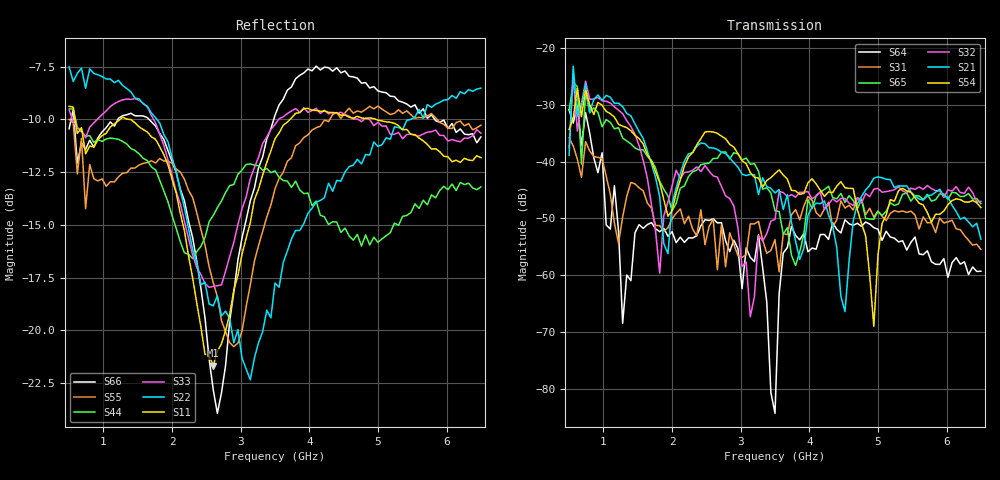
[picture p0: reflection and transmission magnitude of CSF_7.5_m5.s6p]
!Keysight Technologies,M9804A,MY58100912,A.14.10.03
!Date: Thursday, April 27, 2023 10:28:33
!Correction: S11(C  6-Port  )
!S12(C  6-Port  )
!S13(C  6-Port  )
!S14(C  6-Port  )
!S15(C  6-Port  )
!S16(C  6-Port  )
!S21(C  6-Port  )
!S22(C  6-Port  )
!S23(C  6-Port  )
!S24(C  6-Port  )
!S25(C  6-Port  )
!S26(C  6-Port  )
!S31(C  6-Port  )
!S32(C  6-Port  )
!S33(C  6-Port  )
!S34(C  6-Port  )
!S35(C  6-Port  )
!S36(C  6-Port  )
!S41(C  6-Port  )
!S42(C  6-Port  )
!S43(C  6-Port  )
!S44(C  6-Port  )
!S45(C  6-Port  )
!S46(C  6-Port  )
!S51(C  6-Port  )
!S52(C  6-Port  )
!S53(C  6-Port  )
!S54(C  6-Port  )
!S55(C  6-Port  )
!S56(C  6-Port  )
!S61(C  6-Port  )
!S62(C  6-Port  )
!S63(C  6-Port  )
!S64(C  6-Port  )
!S65(C  6-Port  )
!S66(C  6-Port  )
!S6P File: Measurement: :
# Hz S  RI  R 50
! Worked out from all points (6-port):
!   101 points, 500 MHz to 6.5 GHz, reference 50 ohm
!   strongest paths, dB at 500 MHz, 2 GHz, 3.5 GHz, 5 GHz, 6.5 GHz:
!     S54: -34.3, -48.7, -42.1, -56.5, -48.1
!     S21: -38.9, -47.4, -45.5, -42.7, -53.7
!     S32: -37.5, -44.3, -50.2, -44.7, -47.0
!     S65: -31.0, -48.6, -48.7, -48.7, -47.4
!     S31: -35.8, -50.0, -53.7, -48.7, -55.5
!     S64: -30.9, -52.3, -84.3, -51.9, -59.3
!   lowest |S11| = -21.7 dB at 2.6 GHz (marker M1), VSWR 1.18, Z = 42.6 + j2.03 ohm
!   |S11| at or under -10 dB: 587.9 MHz to 1.244 GHz (656.1 MHz wide, 71.6 % of centre); 1.366 GHz to 3.721 GHz (2.354 GHz wide, 92.6 % of centre); 4.967 GHz to end of sweep
